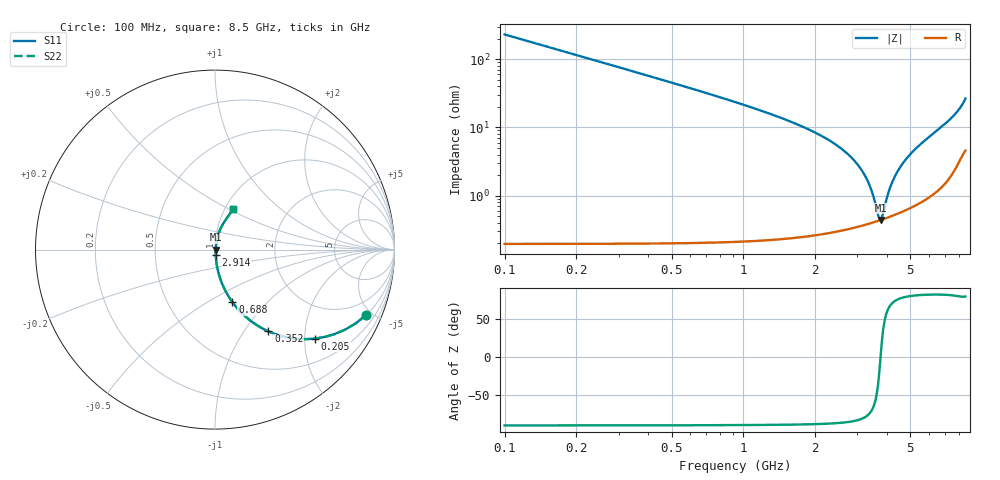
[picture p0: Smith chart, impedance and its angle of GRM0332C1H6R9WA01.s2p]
!Murata Part Number: GRM0332C1H6R9WA01
!These Parameters are Measured in Series Mode Connection
!Data Generated on Mar 30, 2021
!  o--ll--o
!Port1  Port2
!  o------o
!Operation Temp=25[degC], DC Bias Voltage=0[V]
!Freq. Start=100[MHz] Stop=9[GHz] 401[Steps]
# Hz S RI R 50
!Freq.(Hz) S11(Real) S11(Imag) S21(Real) S21(Imag) S12(Real) S12(Imag) S22(Real) S22(Imag)
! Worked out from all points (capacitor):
!   401 points, 100 MHz to 8.5 GHz, reference 50 ohm
!   read as one part in series: C = 6.9 pF near 142 MHz
!   lowest |Z| = 437 mohm at 3.754 GHz (marker M1)
!   series resonance near 3.75 GHz, so ESL is about 260 pH
!   S11 on the Smith chart (normalised r, x): 100 MHz: 1.00, -4.61; 205 MHz: 1.00, -2.24; 352 MHz: 1.00, -1.30; 688 MHz: 1.00, -0.65; 2.914 GHz: 1.01, -0.06; 8.5 GHz: 1.09, +0.52
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1e8  0.8414 -0.3649  0.1586 0.3649  0.1586 0.3649  0.8414 -0.3649
2.05e8  0.5572 -0.4958  0.4428 0.4958  0.4428 0.4958  0.5572 -0.4958
3.52e8  0.2974 -0.4556  0.7026 0.4556  0.7026 0.4556  0.2974 -0.4556
4.99e8  0.1722 -0.3754  0.8278 0.3754  0.8278 0.3754  0.1722 -0.3754
6.88e8  0.0967 -0.2925  0.9033 0.2925  0.9033 0.2925  0.0967 -0.2925
1.045e9  0.0419 -0.1953  0.9581 0.1953  0.9581 0.1953  0.0419 -0.1953
1.507e9  0.0186 -0.1266  0.9814 0.1266  0.9814 0.1266  0.0186 -0.1266
2.41e9  0.00615 -0.0568  0.9939 0.0568  0.9939 0.0568  0.00615 -0.0568
2.914e9  0.00439 -0.0321  0.9956 0.0321  0.9956 0.0321  0.00439 -0.0321
3.145e9  0.00411 -0.0224  0.9959 0.0224  0.9959 0.0224  0.00411 -0.0224
3.334e9  0.00404 -0.015  0.996 0.015  0.996 0.015  0.00404 -0.015
3.481e9  0.00409 -0.00951  0.9959 0.00951  0.9959 0.00951  0.00409 -0.00951
3.691e9  0.00427 -0.00204  0.9957 0.00204  0.9957 0.00204  0.00427 -0.00204
3.754e9  0.00435 0.000128  0.9956 -0.000128  0.9956 -0.000128  0.00435 0.000128
3.817e9  0.00444 0.00227  0.9956 -0.00227  0.9956 -0.00227  0.00444 0.00227
4.069e9  0.00492 0.0106  0.9951 -0.0106  0.9951 -0.0106  0.00492 0.0106
4.3e9  0.0055 0.018  0.9945 -0.018  0.9945 -0.018  0.0055 0.018
4.846e9  0.0074 0.0347  0.9926 -0.0347  0.9926 -0.0347  0.0074 0.0347
5.707e9  0.0121 0.061  0.9879 -0.061  0.9879 -0.061  0.0121 0.061
7.114e9  0.029 0.1129  0.971 -0.1129  0.971 -0.1129  0.029 0.1129
7.975e9  0.0581 0.164  0.9419 -0.164  0.9419 -0.164  0.0581 0.164
8.5e9  0.0999 0.2251  0.9001 -0.2251  0.9001 -0.2251  0.0999 0.2251
